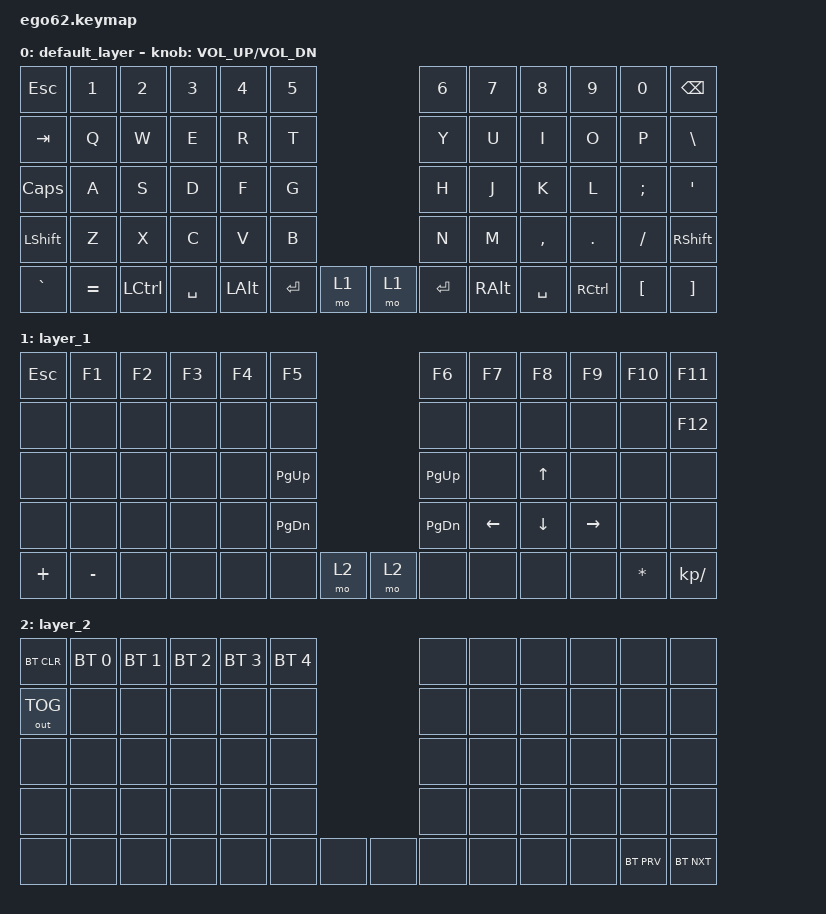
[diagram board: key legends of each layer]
/*
 * Copyright (c) 2020 The ZMK Contributors
 *
 * SPDX-License-Identifier: MIT
 */

#include <behaviors.dtsi>
#include <dt-bindings/zmk/bt.h>
#include <dt-bindings/zmk/keys.h>
#include <dt-bindings/zmk/outputs.h>

/ {
    keymap {
        compatible = "zmk,keymap";

        default_layer {
            bindings = <
&kp ESC       &kp N1     &kp N2     &kp N3     &kp N4    &kp N5                   &kp N6     &kp N7    &kp N8     &kp N9             &kp N0         &kp BACKSPACE
&kp TAB       &kp Q      &kp W      &kp E      &kp R     &kp T                    &kp Y      &kp U     &kp I      &kp O              &kp P          &kp BACKSLASH
&kp CAPSLOCK  &kp A      &kp S      &kp D      &kp F     &kp G                    &kp H      &kp J     &kp K      &kp L              &kp SEMICOLON  &kp SQT
&kp LSHFT     &kp Z      &kp X      &kp C      &kp V     &kp B                    &kp N      &kp M     &kp COMMA  &kp DOT            &kp FSLH       &kp RSHIFT
&kp GRAVE     &kp EQUAL  &kp LCTRL  &kp SPACE  &kp LALT  &kp ENTER  &mo 1  &mo 1  &kp ENTER  &kp RALT  &kp SPACE  &kp RIGHT_CONTROL  &kp LBKT       &kp RBKT
            >;

            sensor-bindings = <&inc_dec_kp C_VOL_UP C_VOL_DN>;
        };

        layer_1 {
            bindings = <
&kp ESC   &kp F1     &kp F2  &kp F3  &kp F4  &kp F5                       &kp F6         &kp F7    &kp F8        &kp F9     &kp F10   &kp F11
&none     &none      &none   &none   &none   &none                        &none          &none     &none         &none      &none     &kp F12
&none     &none      &none   &none   &none   &kp PAGE_UP                  &kp PAGE_UP    &none     &kp UP_ARROW  &none      &none     &none
&none     &none      &none   &none   &none   &kp PAGE_DOWN                &kp PAGE_DOWN  &kp LEFT  &kp DOWN      &kp RIGHT  &none     &none
&kp PLUS  &kp MINUS  &none   &none   &none   &none          &mo 2  &mo 2  &none          &none     &none         &none      &kp STAR  &kp KP_DIVIDE
            >;
        };

        layer_2 {
            bindings = <
&bt BT_CLR    &bt BT_SEL 0  &bt BT_SEL 1  &bt BT_SEL 2  &bt BT_SEL 3  &bt BT_SEL 4                &none  &none  &none  &none  &none       &none
&out OUT_TOG  &none         &none         &none         &none         &none                       &none  &none  &none  &none  &none       &none
&none         &none         &none         &none         &none         &none                       &none  &none  &none  &none  &none       &none
&none         &none         &none         &none         &none         &none                       &none  &none  &none  &none  &none       &none
&none         &none         &none         &none         &none         &none         &none  &none  &none  &none  &none  &none  &bt BT_PRV  &bt BT_NXT
            >;
        };
    };
};
